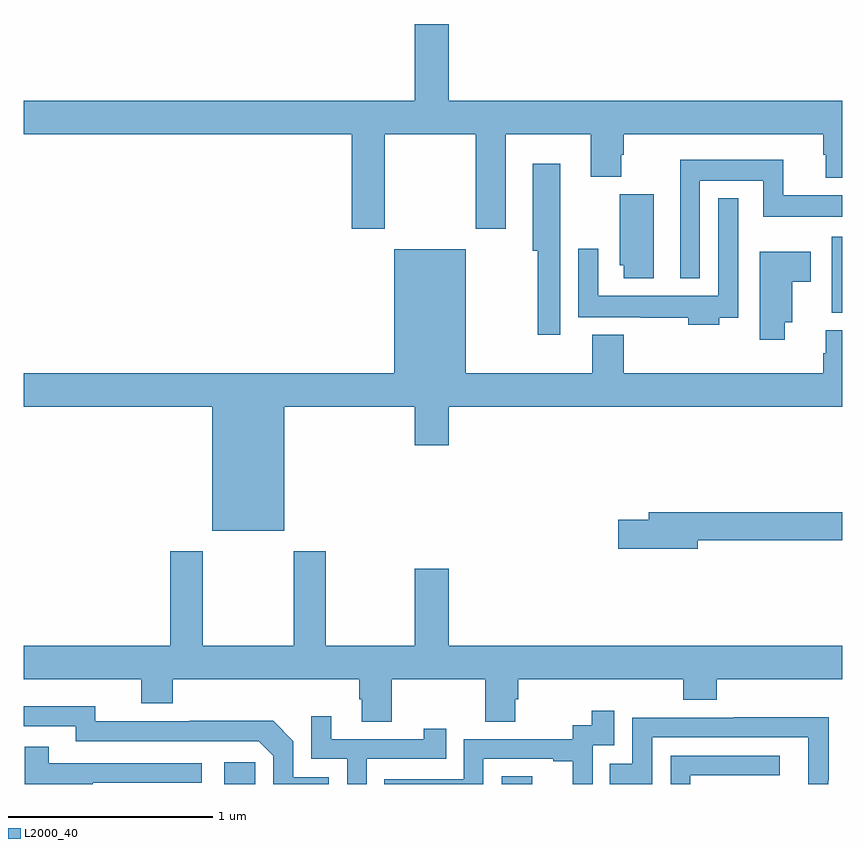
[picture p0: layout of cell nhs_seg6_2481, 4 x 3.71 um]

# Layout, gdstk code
import gdstk
lib = gdstk.Library(unit=1e-6, precision=1e-09)
def R(c, l, rs):  # rectangles x0, y0, x1, y1
    for r in rs: c.add(gdstk.rectangle(r[:2], r[2:], *l))
def P(c, l, *ps):  # polygons
    for p in ps: c.add(gdstk.Polygon(p, *l))
L2000_40 = (2000, 40)

nhs_seg6_2481 = lib.new_cell('nhs_seg6_2481')
R(nhs_seg6_2481, L2000_40, [(259.98,937.5,260.13,937.606), (261.336,937.5,261.484,937.537), (262.949,939.803,263,940.174)])
P(nhs_seg6_2481, L2000_40, [(260.763,940.676),(261.208,940.676),(261.208,940.215),(261.355,940.215),(261.355,940.676),(261.772,940.676),(261.772,940.468),(261.919,940.468),(261.919,940.577),(261.932,940.577),(261.932,940.676),(262.907,940.676),(262.907,940.575),(262.919,940.575),(262.919,940.463),(263,940.463),(263,940.84),(261.076,940.84),(261.076,941.215),(260.912,941.215),(260.912,940.84),(259,940.84),(259,940.676),(260.603,940.676),(260.603,940.215),(260.763,940.215)],
  [(262.305,940.448),(262.614,940.448),(262.614,940.274),(263,940.274),(263,940.378),(262.712,940.378),(262.712,940.552),(262.208,940.552),(262.208,939.971),(262.305,939.971)],
  [(261.621,940.21),(261.622,940.21),(261.622,940.531),(261.488,940.531),(261.488,940.106),(261.513,940.106),(261.513,939.696),(261.621,939.696)],
  [(262.078,940.383),(261.914,940.383),(261.914,940.035),(261.932,940.035),(261.932,939.972),(262.078,939.972)],
  [(262.399,939.78),(262.491,939.78),(262.491,940.363),(262.395,940.363),(262.395,939.886),(261.807,939.886),(261.807,940.117),(261.711,940.117),(261.711,939.782),(262.015,939.782),(262.015,939.78),(262.247,939.78),(262.247,939.746),(262.399,939.746)],
  [(260.272,939.344),(260.912,939.344),(260.912,939.156),(261.076,939.156),(261.076,939.344),(263,939.344),(263,939.718),(262.919,939.718),(262.919,939.606),(262.907,939.606),(262.907,939.508),(261.932,939.508),(261.932,939.697),(261.779,939.697),(261.779,939.508),(261.16,939.508),(261.16,940.114),(260.81,940.114),(260.81,939.508),(259,939.508),(259,939.344),(259.922,939.344),(259.922,938.738),(260.272,938.738)],
  [(262.72,939.758),(262.756,939.758),(262.756,939.955),(262.846,939.955),(262.846,940.102),(262.598,940.102),(262.598,939.672),(262.72,939.672)],
  [(262.294,938.692),(263,938.692),(263,938.828),(262.055,938.828),(262.055,938.792),(261.906,938.792),(261.906,938.65),(262.294,938.65)],
  [(260.799,938.012),(261.256,938.012),(261.256,937.804),(261.403,937.804),(261.403,937.914),(261.416,937.914),(261.416,938.012),(262.223,938.012),(262.223,937.913),(262.388,937.913),(262.388,938.012),(263,938.012),(263,938.176),(261.076,938.176),(261.076,938.551),(260.912,938.551),(260.912,938.176),(260.475,938.176),(260.475,938.638),(260.32,938.638),(260.32,938.176),(259.875,938.176),(259.875,938.638),(259.715,938.638),(259.715,938.176),(259,938.176),(259,938.012),(259.574,938.012),(259.574,937.895),(259.727,937.895),(259.727,938.012),(260.639,938.012),(260.639,937.914),(260.651,937.914),(260.651,937.804),(260.799,937.804)],
  [(260.49,937.533),(260.316,937.533),(260.316,937.71),(260.218,937.808),(259.81,937.808),(259.81,937.806),(259.35,937.806),(259.35,937.879),(259,937.879),(259,937.782),(259.254,937.782),(259.254,937.71),(260.148,937.71),(260.22,937.638),(260.22,937.5),(260.49,937.5)],
  [(261.246,937.623),(261.587,937.623),(261.587,937.611),(261.683,937.611),(261.683,937.5),(261.78,937.5),(261.78,937.689),(261.885,937.689),(261.885,937.858),(261.777,937.858),(261.777,937.788),(261.684,937.788),(261.684,937.719),(261.15,937.719),(261.15,937.524),(260.761,937.524),(260.761,937.5),(261.246,937.5)],
  [(260.676,937.623),(261.065,937.623),(261.065,937.771),(260.954,937.771),(260.954,937.719),(260.503,937.719),(260.503,937.831),(260.406,937.831),(260.406,937.623),(260.58,937.623),(260.58,937.5),(260.676,937.5)],
  [(262.071,937.728),(262.835,937.728),(262.835,937.5),(262.932,937.5),(262.932,937.519),(262.935,937.519),(262.935,937.826),(262.471,937.826),(262.471,937.824),(261.975,937.824),(261.975,937.599),(261.865,937.599),(261.865,937.5),(262.071,937.5)],
  [(259.337,937.506),(259.87,937.506),(259.87,937.602),(259.121,937.602),(259.121,937.681),(259.004,937.681),(259.004,937.5),(259.337,937.5)],
  [(262.257,937.542),(262.696,937.542),(262.696,937.638),(262.161,937.638),(262.161,937.5),(262.257,937.5)])

lib.write_gds('nhs_seg6_2481.gds')
